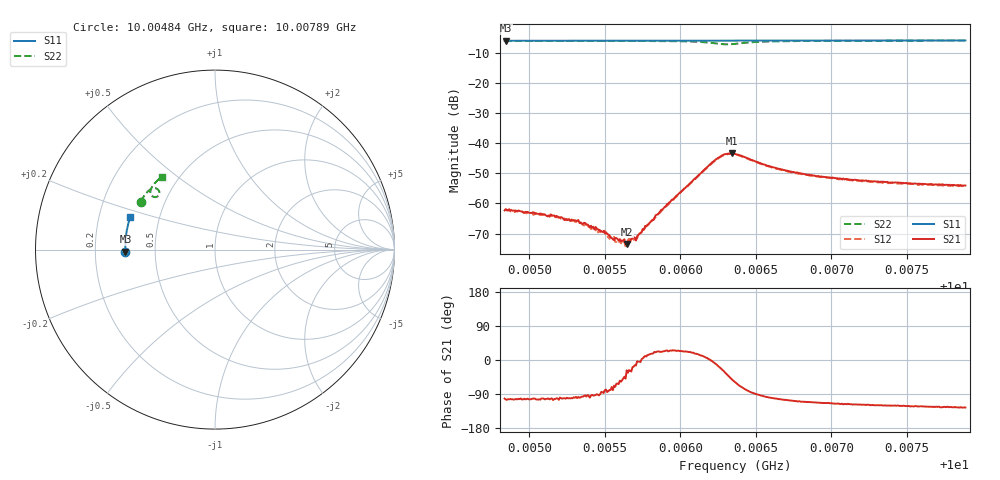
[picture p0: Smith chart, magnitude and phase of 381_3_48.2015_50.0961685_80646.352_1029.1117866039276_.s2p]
#  HZ  S  RI  R  50.00
! Rohde & Schwarz Vector Network Analyzer
! Rohde-Schwarz,ZNB20-2Port,1311601062101988,3.16
! Created: UTC 3/20/2024, 11:53:07 AM
! freq[Hz]  re:S11  im:S11  re:S21  im:S21  re:S12  im:S12  re:S22  im:S22
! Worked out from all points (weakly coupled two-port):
!   401 points, 10.00484 GHz to 10.00789 GHz, reference 50 ohm
!   highest |S21| = -43.42 dB at 10.00634 GHz (marker M1); lowest = -73.5 dB at 10.00564 GHz (marker M2)
!   lowest |S11| = -6.0 dB at 10.00484 GHz (marker M3), VSWR 2.99, Z = 16.7 - j0.549 ohm
!   |S11| at or under -10 dB: nowhere
!   |S22| runs from -7.2 to -6.0 dB; largest |S21 - S12| = 0.00038
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1.0004836e10  -0.4991 -0.013  -0.000156 -0.000749  -0.000163 -0.000772  -0.4149 0.268
1.0004844e10  -0.499 -0.0123  -0.000199 -0.00078  -0.00015 -0.000758  -0.4148 0.2684
1.0005156e10  -0.4999 0.00792  -0.000169 -0.000602  -7.85e-05 -0.000592  -0.4034 0.2869
1.000524e10  -0.4999 0.0135  -0.000116 -0.000538  -6.35e-05 -0.000529  -0.4001 0.2917
1.0005309e10  -0.4999 0.0179  -6.69e-05 -0.000511  -8.63e-05 -0.000491  -0.3972 0.296
1.0005347e10  -0.4998 0.0203  -5.18e-05 -0.000456  -4.2e-05 -0.000464  -0.3958 0.2982
1.0005484e10  -0.4997 0.0293  2.8e-05 -0.000335  1.74e-05 -0.000325  -0.3896 0.3065
1.0005522e10  -0.4996 0.0318  4.08e-05 -0.0003  4.92e-05 -0.00028  -0.3877 0.3086
1.0005545e10  -0.4996 0.0331  8.52e-05 -0.000252  0.000107 -0.000263  -0.3867 0.3101
1.0005583e10  -0.4995 0.0357  0.00012 -0.000227  0.000107 -0.00022  -0.3847 0.3125
1.0005644e10  -0.4993 0.0398  0.000188 -9.65e-05  0.000185 -0.000113  -0.3815 0.3163
1.0005652e10  -0.4993 0.0403  0.000182 -0.000121  0.000209 -0.000125  -0.3811 0.3168
1.0005705e10  -0.4991 0.0435  0.000234 -6.07e-05  0.000262 -3.97e-05  -0.3781 0.3202
1.0005858e10  -0.4984 0.0535  0.000639 0.000263  0.000635 0.000248  -0.3678 0.3298
1.0006216e10  -0.4957 0.0764  0.00491 -0.00043  0.00483 -0.000208  -0.3148 0.3314
1.0006277e10  -0.4951 0.0802  0.00565 -0.00277  0.00562 -0.00244  -0.3103 0.3109
1.0006338e10  -0.4945 0.0838  0.00431 -0.00518  0.00449 -0.00485  -0.3257 0.2937
1.0006361e10  -0.4944 0.0851  0.00347 -0.00562  0.00364 -0.00535  -0.3338 0.2922
1.000662e10  -0.4925 0.1017  -0.000738 -0.00388  -0.000548 -0.00382  -0.3588 0.3312
1.0006872e10  -0.4894 0.1178  -0.00107 -0.00273  -0.000934 -0.00272  -0.3479 0.3541
1.0007383e10  -0.4816 0.1498  -0.00111 -0.0019  -0.000996 -0.00196  -0.3223 0.3837
1.0007886e10  -0.4719 0.1808  -0.00115 -0.00161  -0.00102 -0.00164  -0.2967 0.4068
